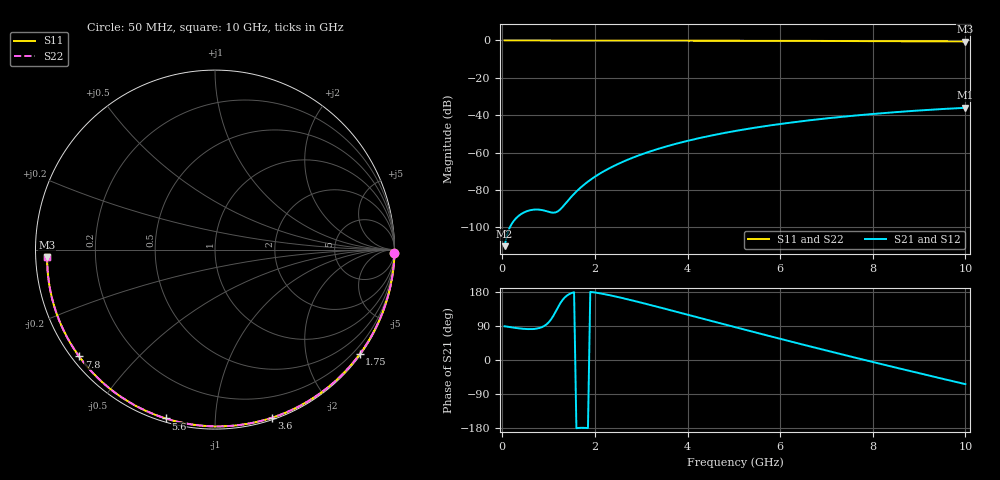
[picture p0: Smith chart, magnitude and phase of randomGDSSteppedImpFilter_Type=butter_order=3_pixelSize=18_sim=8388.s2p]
! freq	dB(S11)	phase(S11)	dB(S12)	phase(S12)
!  dB(S21)	phase(S21)	dB(S22)	phase(S22)
!S-par simulation data
#  GHz  S  DB  R 50
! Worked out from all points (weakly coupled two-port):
!   200 points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, 50 MHz to 10 GHz, reference 50 ohm
!   highest |S21| = -36.03 dB at 10 GHz (marker M1); lowest = -110.1 dB at 50 MHz (marker M2)
!   lowest |S11| = -0.6 dB at 10 GHz (marker M3), VSWR 30.33, Z = 1.65 - j1.08 ohm
!   |S11| at or under -10 dB: nowhere
!   |S22| runs from -0.6 to 0.0 dB; largest |S21 - S12| = 0
!   S11 on the Smith chart (normalised r, x): 50 MHz: open; 1.75 GHz: 0.03, -3.09; 3.6 GHz: 0.02, -1.39; 5.6 GHz: 0.02, -0.75; 7.8 GHz: 0.02, -0.35; 10 GHz: 0.03, -0.02
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0.05  -0.00 -1.0  -110.10 89.0  -110.10 89.0  -0.00 -1.0
0.4  -0.01 -8.3  -93.02 83.0  -93.02 83.0  -0.01 -8.3
0.8  -0.02 -16.6  -90.57 84.4  -90.57 84.4  -0.02 -16.6
1.6  -0.04 -32.8  -80.85 -180.0  -80.85 -180.0  -0.04 -32.8
1.65  -0.04 -33.9  -79.67 -179.3  -79.67 -179.3  -0.04 -33.8
1.75  -0.05 -35.8  -77.50 -179.0  -77.50 -179.0  -0.05 -35.8
1.9  -0.05 -38.8  -74.63 179.7  -74.63 179.7  -0.05 -38.8
2.05  -0.05 -41.8  -72.12 177.2  -72.12 177.2  -0.05 -41.8
2.25  -0.06 -45.7  -69.22 172.7  -69.22 172.7  -0.06 -45.7
2.45  -0.06 -49.6  -66.68 167.5  -66.68 167.5  -0.06 -49.6
2.9  -0.08 -58.3  -61.95 154.4  -61.95 154.4  -0.08 -58.2
3.4  -0.09 -67.6  -57.76 138.8  -57.76 138.8  -0.09 -67.6
3.6  -0.10 -71.3  -56.32 132.4  -56.32 132.4  -0.10 -71.3
4.3  -0.12 -83.9  -52.01 110.0  -52.01 110.0  -0.12 -83.9
5.05  -0.15 -97.0  -48.36 86.0  -48.36 86.0  -0.15 -96.9
5.6  -0.18 -106.2  -46.14 68.5  -46.14 68.5  -0.18 -106.2
6.15  -0.21 -115.3  -44.22 51.2  -44.22 51.2  -0.21 -115.3
6.7  -0.24 -124.2  -42.55 34.2  -42.55 34.2  -0.24 -124.2
7.8  -0.33 -141.8  -39.78 0.7  -39.78 0.7  -0.33 -141.8
8.35  -0.38 -150.6  -38.65 -15.7  -38.65 -15.7  -0.38 -150.5
9.2  -0.47 -164.3  -37.16 -40.6  -37.16 -40.6  -0.47 -164.2
10  -0.57 -177.5  -36.03 -63.7  -36.03 -63.7  -0.57 -177.5
